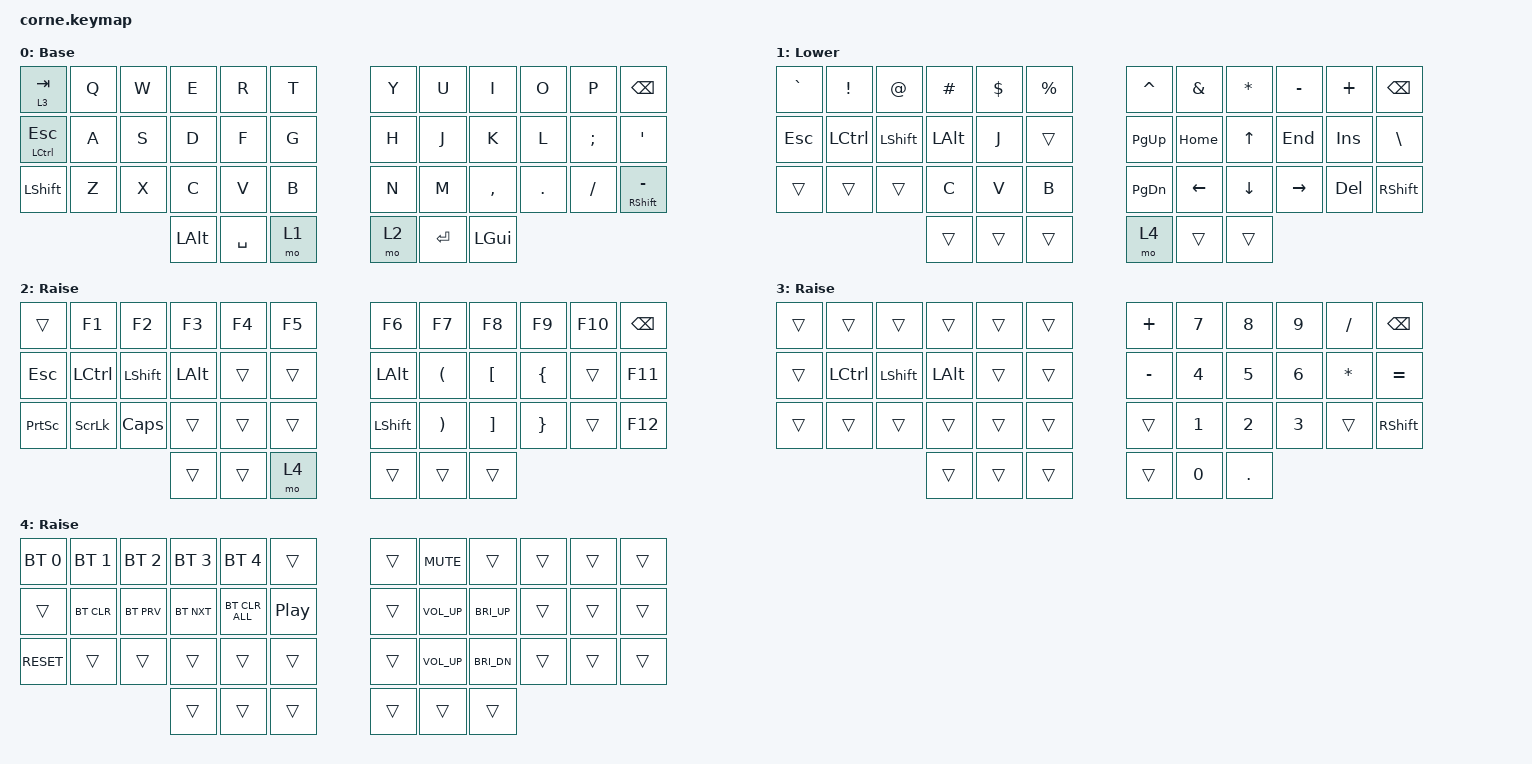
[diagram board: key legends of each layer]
/*
 * Copyright (c) 2020 The ZMK Contributors
 *
 * SPDX-License-Identifier: MIT
 */

#include <behaviors.dtsi>
#include <dt-bindings/zmk/bt.h>
#include <dt-bindings/zmk/keys.h>

&lt { quick-tap-ms = <200>; };

&mt { quick-tap-ms = <200>; };

/ {
    keymap {
        compatible = "zmk,keymap";

        default_layer {
            // -----------------------------------------------------------------------------------------
            // |  TAB |  Q  |  W  |  E  |  R  |  T  |   |  Y  |  U   |  I  |  O  |  P  | BKSP |
            // | CTRL |  A  |  S  |  D  |  F  |  G  |   |  H  |  J   |  K  |  L  |  ;  |  '   |
            // | SHFT |  Z  |  X  |  C  |  V  |  B  |   |  N  |  M   |  ,  |  .  |  /  | ESC  |
            //                    | GUI | LWR | SPC |   | ENT | RSE  | ALT |

            display-name = "Base";
            bindings = <
&lt 3 TAB      &kp Q  &kp W  &kp E     &kp R      &kp T    &kp Y  &kp U      &kp I         &kp O    &kp P     &kp BSPC
&mt LCTRL ESC  &kp A  &kp S  &kp D     &kp F      &kp G    &kp H  &kp J      &kp K         &kp L    &kp SEMI  &kp SQT
&kp LSHFT      &kp Z  &kp X  &kp C     &kp V      &kp B    &kp N  &kp M      &kp COMMA     &kp DOT  &kp FSLH  &mt RIGHT_SHIFT MINUS
                             &kp LALT  &kp SPACE  &mo 1    &mo 2  &kp ENTER  &kp LEFT_GUI
            >;
        };

        lower_layer {
            // -----------------------------------------------------------------------------------------
            // |  TAB |  1  |  2  |  3  |  4  |  5  |   |  6  |  7  |  8  |  9  |  0  | BKSP |
            // | BTCLR| BT1 | BT2 | BT3 | BT4 | BT5 |   | LFT | DWN |  UP | RGT |     |      |
            // | SHFT |     |     |     |     |     |   |     |     |     |     |     |      |
            //                    | GUI |     | SPC |   | ENT |     | ALT |

            display-name = "Lower";
            bindings = <
&kp GRAVE  &kp EXCLAMATION   &kp AT_SIGN  &kp HASH  &kp DOLLAR  &kp PERCENT    &kp CARET      &kp AMPERSAND  &kp ASTERISK  &kp MINUS  &kp PLUS    &kp BSPC
&kp ESC    &kp LEFT_CONTROL  &kp LSHIFT   &kp LALT  &kp J       &trans         &kp PAGE_UP    &kp HOME       &kp UP        &kp END    &kp INSERT  &kp BSLH
&trans     &trans            &trans       &kp C     &kp V       &kp B          &kp PAGE_DOWN  &kp LEFT       &kp DOWN      &kp RIGHT  &kp DELETE  &kp RSHFT
                                          &trans    &trans      &trans         &mo 4          &trans         &trans
            >;
        };

        raise_layer {
            // -----------------------------------------------------------------------------------------
            // |  TAB |  !  |  @  |  #  |  $  |  %  |   |  ^  |  &  |  *  |  (  |  )  | BKSP |
            // | CTRL |     |     |     |     |     |   |  -  |  =  |  [  |  ]  |  \  |  `   |
            // | SHFT |     |     |     |     |     |   |  _  |  +  |  {  |  }  | "|" |  ~   |
            //                    | GUI |     | SPC |   | ENT |     | ALT |

            display-name = "Raise";
            bindings = <
&trans     &kp F1            &kp F2        &kp F3    &kp F4  &kp F5    &kp F6          &kp F7                 &kp F8    &kp F9          &kp F10  &kp BSPC
&kp ESC    &kp LEFT_CONTROL  &kp LSHIFT    &kp LALT  &trans  &trans    &kp LALT        &kp LEFT_PARENTHESIS   &kp LBKT  &kp LEFT_BRACE  &trans   &kp F11
&kp PSCRN  &kp SLCK          &kp CAPSLOCK  &trans    &trans  &trans    &kp LEFT_SHIFT  &kp RIGHT_PARENTHESIS  &kp RBKT  &kp RBRC        &trans   &kp F12
                                           &trans    &trans  &mo 4     &trans          &trans                 &trans
            >;
        };

        adjust_layer {
            display-name = "Raise";
            bindings = <
&trans  &trans            &trans      &trans    &trans  &trans    &kp PLUS   &kp N7  &kp N8   &kp N9  &kp FSLH  &kp BSPC
&trans  &kp LEFT_CONTROL  &kp LSHIFT  &kp LALT  &trans  &trans    &kp MINUS  &kp N4  &kp N5   &kp N6  &kp STAR  &kp EQUAL
&trans  &trans            &trans      &trans    &trans  &trans    &trans     &kp N1  &kp N2   &kp N3  &trans    &kp RSHIFT
                                      &trans    &trans  &trans    &trans     &kp N0  &kp DOT
            >;
        };

        layer_4 {
            display-name = "Raise";
            bindings = <
&bt BT_SEL 0  &bt BT_SEL 1  &bt BT_SEL 2  &bt BT_SEL 3  &bt BT_SEL 4    &trans              &trans  &kp K_MUTE    &trans        &trans  &trans  &trans
&trans        &bt BT_CLR    &bt BT_PRV    &bt BT_NXT    &bt BT_CLR_ALL  &kp C_PLAY_PAUSE    &trans  &kp C_VOL_UP  &kp C_BRI_UP  &trans  &trans  &trans
&kp C_RESET   &trans        &trans        &trans        &trans          &trans              &trans  &kp C_VOL_UP  &kp C_BRI_DN  &trans  &trans  &trans
                                          &trans        &trans          &trans              &trans  &trans        &trans
            >;
        };
    };
};
